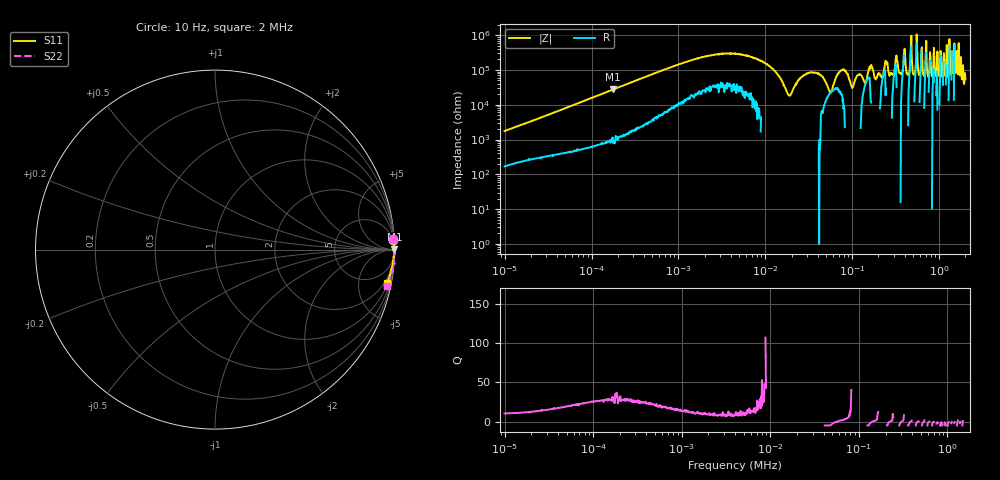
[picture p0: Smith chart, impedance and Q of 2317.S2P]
!Agilent Technologies,E5061B,MY49204007,A.02.12
!Date: Wed Jul 23 12:13:16 2025
!Data & Calibration Information:
!Freq	S11:SOLT2(ON)	S21:SOLT2(ON)	S12:SOLT2(ON)	S22:SOLT2(ON)
# Hz S dB R 50
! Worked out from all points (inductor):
!   1040 points, 10 Hz to 2 MHz, reference 50 ohm
!   read as one part in series: L = 27.2 H near 10.69 Hz
!   highest Q = 29.3 at 177.8 Hz (marker M1), where L = 24.8 H
!   self-resonance near 18.87 kHz
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10  -0.07 3.2  -24.95 -81.1  -24.96 -81.0  -0.05 3.4
77.209  -0.01 0.5  -41.70 -87.0  -41.70 -86.9  0.01 0.7
177.829  -0.00 0.2  -48.84 -88.1  -48.80 -87.0  0.02 0.4
588.818  -0.00 0.1  -58.91 -86.9  -58.94 -86.8  0.02 0.3
4498.482  -0.00 -0.0  -69.17 -84.6  -69.22 -83.2  0.02 0.2
10824.6  -0.00 -0.1  -62.61 -92.5  -62.68 -92.6  0.02 0.1
18873.38  -0.05 -0.1  -45.22 -178.4  -45.24 -178.5  -0.03 0.1
34305.13  -0.01 -0.2  -58.61 95.0  -58.64 94.5  0.02 -0.0
55893.47  -0.04 -0.4  -47.13 13.7  -47.07 13.9  -0.02 -0.2
75137.08  -0.01 -0.4  -59.80 -78.0  -60.00 -79.7  0.01 -0.2
99964.22  -0.03 -0.6  -49.62 -179.4  -49.68 179.6  -0.02 -0.4
118648.7  -0.01 -0.6  -57.50 100.1  -57.40 95.1  0.01 -0.5
141827.6  -0.03 -0.8  -52.22 11.4  -52.40 11.9  -0.01 -0.6
162936.5  -0.02 -0.8  -61.70 -85.0  -61.33 -77.1  0.01 -0.8
188401.2  -0.02 -1.0  -55.15 139.1  -55.02 140.4  -0.01 -0.8
261946.5  -0.02 -1.4  -58.43 176.3  -58.22 176.6  -0.01 -1.3
327104.3  -0.02 -1.7  -65.80 -131.2  -69.65 -135.2  -0.00 -1.6
359497.9  -0.02 -1.9  -58.08 88.1  -58.20 89.8  -0.00 -1.8
395940.8  -0.02 -2.1  -70.14 -50.5  -70.97 -45.9  0.00 -2.0
952640.1  -0.07 -5.1  -70.64 83.4  -73.10 85.9  -0.02 -5.7
1595069  -0.14 -8.6  -71.14 -87.9  -68.32 -93.0  -0.11 -9.3
2000000  -0.21 -11.0  -54.94 -117.9  -54.49 -119.6  -0.19 -11.8
